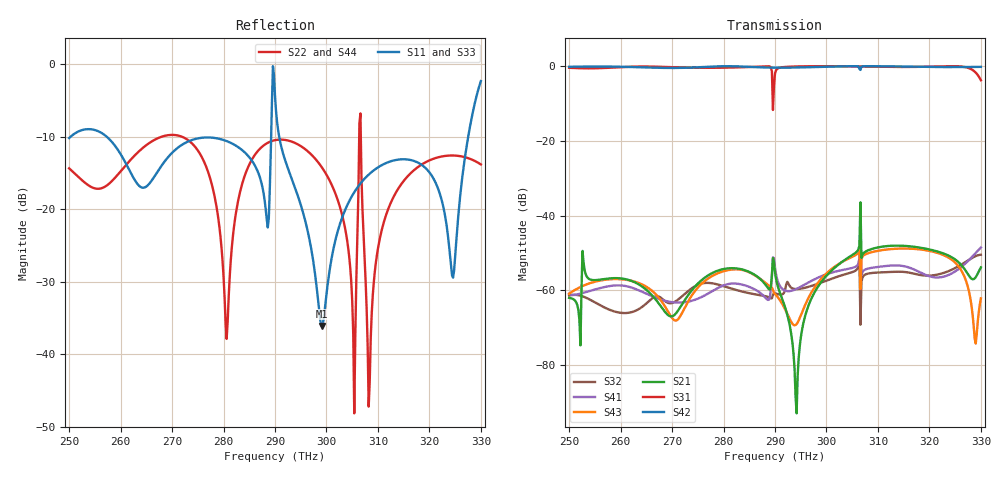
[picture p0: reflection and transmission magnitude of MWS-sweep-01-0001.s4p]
! TOUCHSTONE file generated by CST MICROWAVE STUDIO
! Date and time: Sun Sep 21 00:04:55 2025
! Project name: biblioteca3.cst
! Parameters = {t_sub=1000; t_air=800; k=0; n=0; wavelength_nm=0; H=600; Lx=200; Ly=260; P=520}
! Header version: 2018
! Port assignment regex: !\s*Touchstone port\s*([0-9]+)\s*=\s*(CST MWS port|CST DS port)\s*([0-9]+|Zmin|Zmax)\s*\(\"(.*)\"\)(\s*mode\s*([0-9]+))?.*
! Touchstone port assignment:
! Touchstone port 1 = CST MWS port Zmin ("") mode 1
! Touchstone port 2 = CST MWS port Zmin ("") mode 2
! Touchstone port 3 = CST MWS port Zmax ("") mode 1
! Touchstone port 4 = CST MWS port Zmax ("") mode 2
! S-Parameters are not renormalized. Unphysical impedance of 50 will be written to the file.
# GHz S RI R 50
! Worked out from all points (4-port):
!   401 points, 250 THz to 330 THz, reference per port
!   strongest paths, dB at 250 THz, 270 THz, 290 THz, 310 THz, 330 THz:
!     S42: -0.2, -0.5, -0.4, 0.0, -0.2
!     S31: -0.4, -0.3, -2.0, -0.2, -3.8
!     S21: -62.0, -67.0, -55.2, -48.5, -53.9
!     S43: -60.9, -67.4, -61.0, -49.4, -62.2
!     S41: -60.9, -63.2, -53.9, -53.8, -48.6
!     S32: -61.4, -63.4, -60.8, -55.3, -50.5
!   lowest |S11| = -36.1 dB at 299.2 THz (marker M1), VSWR 1.03
!   |S11| at or under -10 dB: start of sweep to 250.3137 THz; 257.3 THz to 289.3 THz (31.98 THz wide, 11.7 % of centre); 290.8 THz to 327.5 THz (36.73 THz wide, 11.9 % of centre)
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250000  -0.3073 -0.0312  0.000514 0.000634  0.1641 0.937  -0.00081 -0.000435
        0.000496 0.000615  -0.094 0.1664  -0.000643 -0.000457  -0.9766 0.0983
        0.164 0.9369  -0.000724 -0.000443  -0.2784 0.1337  0.000917 0.00016
        -0.000732 -0.000523  -0.9767 0.0983  0.000864 0.000241  0.1253 0.1443
263200  -0.00117 0.1503  -0.000417 -0.00105  0.1326 -0.9796  0.000525 0.000376
        -0.000637 -0.00106  -0.1156 0.214  -0.000135 0.000568  0.5541 0.7968
        0.1326 -0.9797  7.41e-05 0.000538  0.0388 -0.1452  0.000316 -0.00133
        0.000737 0.000704  0.5535 0.7962  -1.74e-05 -0.00127  -0.2408 0.0341
281800  0.2699 0.0805  -0.000817 -0.00175  -0.0384 0.9588  -0.0011 -0.000467
        -0.000843 -0.00178  -0.0161 0.062  -0.000726 -0.000766  -0.9735 -0.2196
        -0.0384 0.9588  -0.000706 -0.000762  0.2755 -0.0586  -0.00166 -0.000929
        -0.00113 -0.000489  -0.9734 -0.2197  -0.00165 -0.000937  -0.012 0.0629
299200  0.0157 -0.000703  -0.000233 -0.00132  0.7117 -0.7025  0.000635 0.00113
        -0.000415 -0.00128  0.0999 -0.1638  0.000155 0.00139  0.9815 0.0144
        0.7118 -0.7017  3.51e-06 0.00128  -0.000813 0.0158  -0.000625 -0.00143
        0.000944 0.00124  0.9811 0.013  -0.000608 -0.00135  -0.0952 -0.1668
308400  0.173 0.03  -0.00331 -0.000267  -0.4227 -0.8891  0.00171 -0.000806
        -0.00347 -0.000348  0.000403 0.00641  0.0017 -9.68e-05  0.1959 -0.9805
        -0.4227 -0.8884  0.00168 -0.000143  0.0859 -0.1531  -0.00287 0.00129
        0.00175 -0.000899  0.1962 -0.9805  -0.00286 0.00138  0.0028 -0.00576
316800  0.151 -0.1544  -0.00206 0.00328  -0.9764 -0.0139  -0.000681 -0.00188
        -0.00202 0.00325  0.1815 -0.0227  0.000297 -0.00173  -0.83 -0.527
        -0.9766 -0.0123  0.000275 -0.00165  -0.1468 -0.1583  0.000604 0.00345
        -0.000688 -0.0018  -0.8299 -0.5263  0.000565 0.00354  -0.0567 -0.1739
330000  0.6993 -0.3029  -0.000514 0.002  0.5813 0.2854  -0.00367 0.00136
        -0.000346 0.00199  0.0361 -0.2  -0.00245 0.00143  -0.3393 0.9184
        0.5812 0.2853  -0.0025 0.00164  -0.188 -0.7386  0.000213 0.000974
        -0.00354 0.00119  -0.339 0.9182  0.000162 0.00076  -0.1026 0.1754
